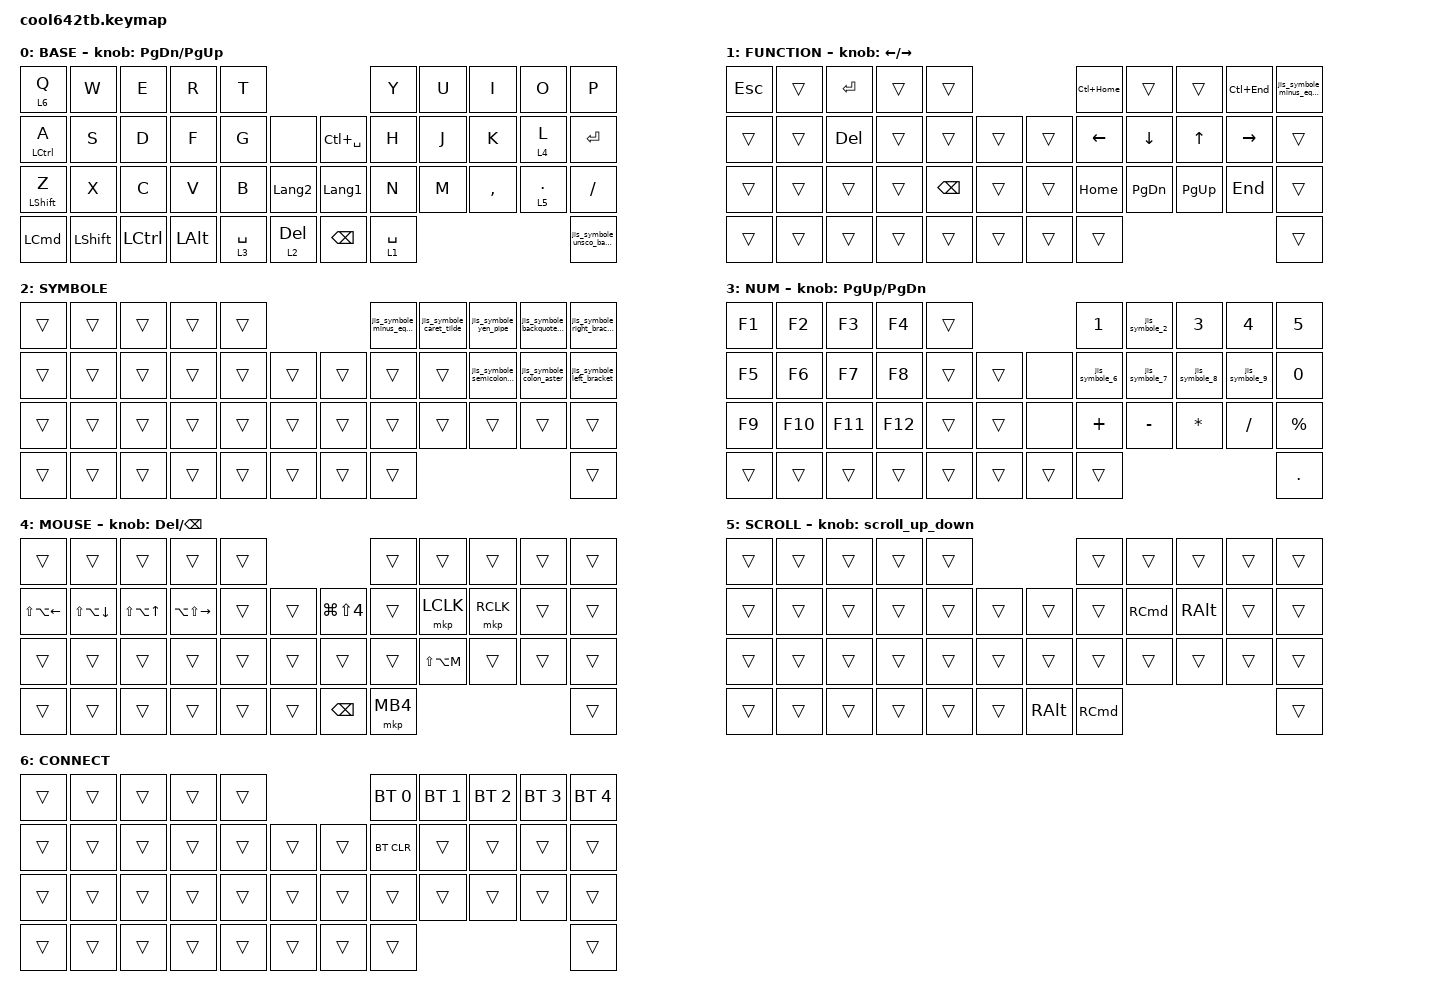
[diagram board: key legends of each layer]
#include <behaviors.dtsi>
#include <dt-bindings/zmk/bt.h>
#include <dt-bindings/zmk/keys.h>
#include <dt-bindings/zmk/pointing.h>

#define ZMK_MOUSE_DEFAULT_SCRL_VAL 100
#define MOUSE 6
#define SCROLL7

// OS設定を日本語キーボードのまま使用するための変換定義

#define JP_DQUOTE       DOUBLE_QUOTES     // "
#define JP_AMPERSAND    AMPERSAND         // &
#define JP_QUOTE        SINGLE_QUOTE      // '
#define JP_EQUAL        EQUAL             // =
#define JP_CARET        CARET             // ^
#define JP_YEN          INT_YEN           // ¥ (Keyboard International 3)
#define JP_PLUS         PLUS              // +
#define JP_TILDE        TILDE             // ~
#define JP_PIPE         PIPE              // |
#define JP_AT           AT_SIGN           // @
#define JP_COLON        COLON             // :
#define JP_ASTERISK     ASTERISK          // *
#define JP_BACKQUOTE    GRAVE             // `
#define JP_UNDERSCORE   UNDERSCORE        // _
#define JP_LBRACKET     LEFT_BRACKET      // [
#define JP_RBRACKET     RIGHT_BRACKET     // ]
#define JP_LPAREN       LEFT_PARENTHESIS  // (
#define JP_RPAREN       RIGHT_PARENTHESIS // )
#define JP_LBRACE       LEFT_BRACE        // {
#define JP_RBRACE       RIGHT_BRACE       // }
#define JP_KANA         LANGUAGE_1        // かな
#define JP_EISU         LANGUAGE_2        // 英数
#define JP_HANZEN       LC(SPACE)         // 半角/全角

&mt {
    flavor = "balanced";
    quick-tap-ms = <0>;
};

/ {
    combos {
        compatible = "zmk,combos";

        comb1 {
            bindings = <&kp TAB>;
            key-positions = <11 10>;
        };

        esc {
            bindings = <&kp ESCAPE>;
            key-positions = <0 1>;
        };

        CapsLock {
            bindings = <&kp CAPSLOCK>;
            key-positions = <22 23>;
        };

        minus_equal {
            bindings = <&jis_symbole_minus_equal>;
            key-positions = <9 8>;
        };

        shift {
            bindings = <&kp LEFT_SHIFT>;
            key-positions = <22 23>;
        };
    };

    macros {
        to_layer_0: to_layer_0 {
            compatible = "zmk,behavior-macro-one-param";
            #binding-cells = <1>;
            bindings = <&to 0 &macro_param_1to1 &kp MACRO_PLACEHOLDER>;
            label = "TO_LAYER_0";
        };
    };

    behaviors {
        lt_to_layer_0: lt_to_layer_0 {
            compatible = "zmk,behavior-hold-tap";
            label = "LAYER_TAP_TO_0";
            bindings = <&mo>, <&to_layer_0>;

            #binding-cells = <2>;
            tapping-term-ms = <200>;
        };

        scroll_up_down: behavior_sensor_rotate_mouse_wheel_up_down {
            compatible = "zmk,behavior-sensor-rotate";
            #sensor-binding-cells = <0>;
            bindings = <&msc SCRL_UP>, <&msc SCRL_DOWN>;

            tap-ms = <20>;
        };

        // jis number

        jis_symbole_2: jis_symbole_2 {
            compatible = "zmk,behavior-mod-morph";
            label = "JIS_SYMBOLE_2";
            bindings = <&kp N2>, <&kp JP_DQUOTE>;

            #binding-cells = <0>;
            mods = <(MOD_LSFT)>;
        };

        jis_symbole_6: jis_symbole_6 {
            compatible = "zmk,behavior-mod-morph";
            label = "JIS_SYMBOLE_6";
            bindings = <&kp N6>, <&kp JP_AMPERSAND>;

            #binding-cells = <0>;
            mods = <(MOD_LSFT)>;
        };

        jis_symbole_7: jis_symbole_7 {
            compatible = "zmk,behavior-mod-morph";
            label = "JIS_SYMBOLE_7";
            bindings = <&kp N7>, <&kp JP_QUOTE>;

            #binding-cells = <0>;
            mods = <(MOD_LSFT)>;
        };

        jis_symbole_8: jis_symbole_8 {
            compatible = "zmk,behavior-mod-morph";
            label = "JIS_SYMBOLE_8";
            bindings = <&kp N8>, <&kp JP_LPAREN>;

            #binding-cells = <0>;
            mods = <(MOD_LSFT)>;
        };

        jis_symbole_9: jis_symbole_9 {
            compatible = "zmk,behavior-mod-morph";
            label = "jis_symbole_9";
            bindings = <&kp N9>, <&kp JP_RPAREN>;

            #binding-cells = <0>;
            mods = <(MOD_LSFT)>;
        };

        // jis symbole

        jis_symbole_minus_equal: jis_symbole_minus_equal {
            compatible = "zmk,behavior-mod-morph";
            label = "JIS_SYMBOLE_MINUS_EQUAL";
            bindings = <&kp MINUS>, <&kp JP_EQUAL>;

            #binding-cells = <0>;
            mods = <(MOD_LSFT)>;
        };

        jis_symbole_caret_tilde: jis_symbole_caret_tilde {
            compatible = "zmk,behavior-mod-morph";
            label = "JIS_SYMBOLE_CARET_TILDE";
            bindings = <&kp JP_CARET>, <&kp JP_TILDE>;

            #binding-cells = <0>;
            mods = <(MOD_LSFT)>;
        };

        jis_symbole_yen_pipe: jis_symbole_yen_pipe {
            compatible = "zmk,behavior-mod-morph";
            label = "JIS_SYMBOLE_YEN_PIPE";
            bindings = <&kp JP_YEN>, <&kp JP_PIPE>;

            #binding-cells = <0>;
            mods = <(MOD_LSFT)>;
        };

        jis_symbole_backquote_AT: jis_symbole_backquote_AT {
            compatible = "zmk,behavior-mod-morph";
            label = "JIS_SYMBOLE_BACKQUOTE_AT";
            bindings = <&kp JP_AT>, <&kp JP_BACKQUOTE>;

            #binding-cells = <0>;
            mods = <(MOD_LSFT)>;
        };

        jis_symbole_right_bracket: jis_symbole_right_bracket {
            compatible = "zmk,behavior-mod-morph";
            label = "JIS_SYMBOLE_RIGHT_BRACKET";
            bindings = <&kp JP_LBRACKET>, <&kp JP_LBRACE>;

            #binding-cells = <0>;
            mods = <(MOD_LSFT)>;
        };

        jis_symbole_semicolon_plus: jis_symbole_semicolon_plus {
            compatible = "zmk,behavior-mod-morph";
            label = "JIS_SYMBOLE_SEMICOLON_PLUS";
            bindings = <&kp SEMI>, <&kp JP_PLUS>;

            #binding-cells = <0>;
            mods = <(MOD_LSFT)>;
        };

        jis_symbole_colon_aster: jis_symbole_colon_aster {
            compatible = "zmk,behavior-mod-morph";
            label = "JIS_SYMBOLE_COLON_ASTER";
            bindings = <&kp JP_COLON>, <&kp JP_ASTERISK>;

            #binding-cells = <0>;
            mods = <(MOD_LSFT)>;
        };

        jis_symbole_left_bracket: jis_symbole_left_bracket {
            compatible = "zmk,behavior-mod-morph";
            label = "JIS_SYMBOLE_LEFT_BRACKET";
            bindings = <&kp JP_RBRACKET>, <&kp JP_RBRACE>;

            #binding-cells = <0>;
            mods = <(MOD_LSFT)>;
        };

        jis_symbole_unsco_backslash: jis_symbole_unsco_backslash {
            compatible = "zmk,behavior-mod-morph";
            label = "JIS_SYMBOLE_UNSCO_BACKSLASH";
            bindings = <&kp JP_UNDERSCORE>, <&kp JP_BACKQUOTE>;

            #binding-cells = <0>;
            mods = <(MOD_LSFT)>;
        };
    };

    keymap {
        compatible = "zmk,keymap";

        BASE {
            bindings = <
&lt 6 Q             &kp W           &kp E             &kp R         &kp T                                     &kp Y        &kp U  &kp I      &kp O         &kp P
&mt LEFT_CONTROL A  &kp S           &kp D             &kp F         &kp G        &none         &kp LC(SPACE)  &kp H        &kp J  &kp K      &lt 4 L       &kp ENTER
&mt LEFT_SHIFT Z    &kp X           &kp C             &kp V         &kp B        &kp JP_EISU   &kp JP_KANA    &kp N        &kp M  &kp COMMA  &lt 5 PERIOD  &kp SLASH
&kp LEFT_COMMAND    &kp LEFT_SHIFT  &kp LEFT_CONTROL  &kp LEFT_ALT  &lt 3 SPACE  &lt 2 DELETE  &kp BACKSPACE  &lt 1 SPACE                                  &jis_symbole_unsco_backslash
            >;

            sensor-bindings = <&inc_dec_kp PAGE_DOWN PG_UP>;
        };

        FUNCTION {
            bindings = <
&kp ESC  &trans  &kp ENTER   &trans  &trans                         &kp LC(HOME)  &trans          &trans        &kp LC(END)      &jis_symbole_minus_equal
&trans   &trans  &kp DELETE  &trans  &trans         &trans  &trans  &kp LEFT      &kp DOWN_ARROW  &kp UP_ARROW  &kp RIGHT_ARROW  &trans
&trans   &trans  &trans      &trans  &kp BACKSPACE  &trans  &trans  &kp HOME      &kp PAGE_DOWN   &kp PAGE_UP   &kp END          &trans
&trans   &trans  &trans      &trans  &trans         &trans  &trans  &trans                                                       &trans
            >;

            sensor-bindings = <&inc_dec_kp LEFT_ARROW RIGHT_ARROW>;
        };

        SYMBOLE {
            bindings = <
&trans  &trans  &trans  &trans  &trans                  &jis_symbole_minus_equal  &jis_symbole_caret_tilde  &jis_symbole_yen_pipe        &jis_symbole_backquote_AT  &jis_symbole_right_bracket
&trans  &trans  &trans  &trans  &trans  &trans  &trans  &trans                    &trans                    &jis_symbole_semicolon_plus  &jis_symbole_colon_aster   &jis_symbole_left_bracket
&trans  &trans  &trans  &trans  &trans  &trans  &trans  &trans                    &trans                    &trans                       &trans                     &trans
&trans  &trans  &trans  &trans  &trans  &trans  &trans  &trans                                                                                                      &trans
            >;
        };

        NUM {
            bindings = <
&kp F1  &kp F2   &kp F3   &kp F4   &trans                  &kp N1          &jis_symbole_2  &kp N3          &kp N4          &kp N5
&kp F5  &kp F6   &kp F7   &kp F8   &trans  &trans  &none   &jis_symbole_6  &jis_symbole_7  &jis_symbole_8  &jis_symbole_9  &kp N0
&kp F9  &kp F10  &kp F11  &kp F12  &trans  &trans  &none   &kp PLUS        &kp MINUS       &kp ASTRK       &kp SLASH       &kp PERCENT
&trans  &trans   &trans   &trans   &trans  &trans  &trans  &trans                                                          &kp DOT
            >;

            sensor-bindings = <&inc_dec_kp PG_UP PAGE_DOWN>;
        };

        MOUSE {
            bindings = <
&trans            &trans            &trans                &trans             &trans                                &trans    &trans         &trans     &trans  &trans
&kp LS(LA(LEFT))  &kp LS(LA(DOWN))  &kp LS(LA(UP_ARROW))  &kp LA(LS(RIGHT))  &trans  &trans  &kp LG(LS(NUMBER_4))  &trans    &mkp LCLK      &mkp RCLK  &trans  &trans
&trans            &trans            &trans                &trans             &trans  &trans  &trans                &trans    &kp LS(LA(M))  &trans     &trans  &trans
&trans            &trans            &trans                &trans             &trans  &trans  &kp BACKSPACE         &mkp MB4                                    &trans
            >;

            sensor-bindings = <&inc_dec_kp DELETE BACKSPACE>;
        };

        SCROLL {
            bindings = <
&trans  &trans  &trans  &trans  &trans                         &trans             &trans             &trans         &trans  &trans
&trans  &trans  &trans  &trans  &trans  &trans  &trans         &trans             &kp RIGHT_COMMAND  &kp RIGHT_ALT  &trans  &trans
&trans  &trans  &trans  &trans  &trans  &trans  &trans         &trans             &trans             &trans         &trans  &trans
&trans  &trans  &trans  &trans  &trans  &trans  &kp RIGHT_ALT  &kp RIGHT_COMMAND                                            &trans
            >;

            // マウススクロール

            sensor-bindings = <&scroll_up_down>;
        };

        CONNECT {
            bindings = <
&trans  &trans  &trans  &trans  &trans                  &bt BT_SEL 0  &bt BT_SEL 1  &bt BT_SEL 2  &bt BT_SEL 3  &bt BT_SEL 4
&trans  &trans  &trans  &trans  &trans  &trans  &trans  &bt BT_CLR    &trans        &trans        &trans        &trans
&trans  &trans  &trans  &trans  &trans  &trans  &trans  &trans        &trans        &trans        &trans        &trans
&trans  &trans  &trans  &trans  &trans  &trans  &trans  &trans                                                  &trans
            >;
        };
    };

    conditional_layers { compatible = "zmk,conditional-layers"; };
};
